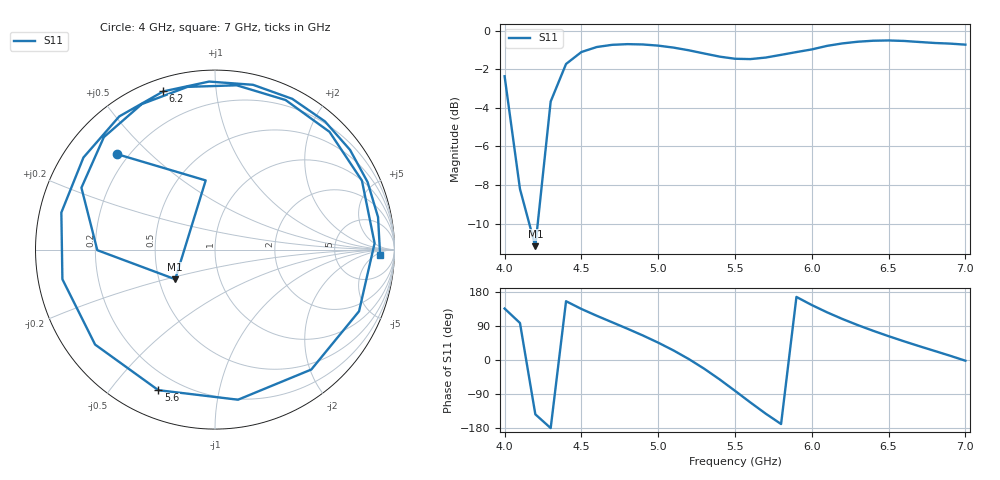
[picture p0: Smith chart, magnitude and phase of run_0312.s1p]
! Touchstone file exported from HFSS 2024.2.0
!  File:  C:/Users/wsak9/Desktop/Sim Fast/Widenad Patch/WP_AI_V1_sweep.aedt
!  Generated:  04:12:38 AM Oct 14, 2026
!  Design:  A1_model
!  Project:  WP_AI_V1_sweep
!  Setup:  Setup1
!  Solution:  Sweep
! Variables:
!  Air_gap = 3.54mm
!  Curve_Amp1 = 2.4
!  Curve_len1 = 1
!  Curve_pos = 13.435mm
!  Extra = 2.64mm
!  H_sub = 0.79mm
!  L_Patch = 22.87mm
!  L_Patch1 = 13.7mm
!  Sx = 1.1mm
!  Sy = 2.21mm
!  WS = 0.89mm
!  W_Patch = 22.22mm
!  W_Patch1 = 11.06mm
!Data is not renormalized
# GHz S MA
! Terminal data exported
! Port[1] = 1
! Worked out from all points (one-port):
!   31 points, 4 GHz to 7 GHz, reference per port
!   lowest |S11| = -11.2 dB at 4.2 GHz (marker M1), VSWR 1.76
!   |S11| at or under -10 dB: 4.161 GHz to 4.216 GHz (55.02 MHz wide, 1.31 % of centre)
!   S11 on the Smith chart (normalised r, x): 4 GHz: 0.16, +0.40; 5.6 GHz: 0.12, -0.67; 6.2 GHz: 0.06, +0.72; 7 GHz: 21, -8
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4  0.7622 135.7
4.1  0.3889 97.7
4.2  0.2764 -143.3
4.3  0.6557 -179.7
4.4  0.8202 155.1
4.5  0.8809 134.7
4.6  0.9076 116.7
4.7  0.9195 99.6
4.8  0.9233 82.5
4.9  0.9215 64.7
5  0.9151 45.8
5.1  0.9044 25.2
5.2  0.8899 2.3
5.3  0.873 -23.2
5.4  0.8569 -51.2
5.5  0.8461 -81.3
5.6  0.8444 -112.0
5.7  0.8522 -141.6
5.8  0.8661 -169.0
5.9  0.8806 166.4
6  0.8947 145.0
6.1  0.9139 125.7
6.2  0.9274 108.1
6.3  0.9367 92.0
6.5  0.9438 62.9
6.7  0.9352 36.4
6.9  0.9262 11.3
7  0.9205 -1.9
